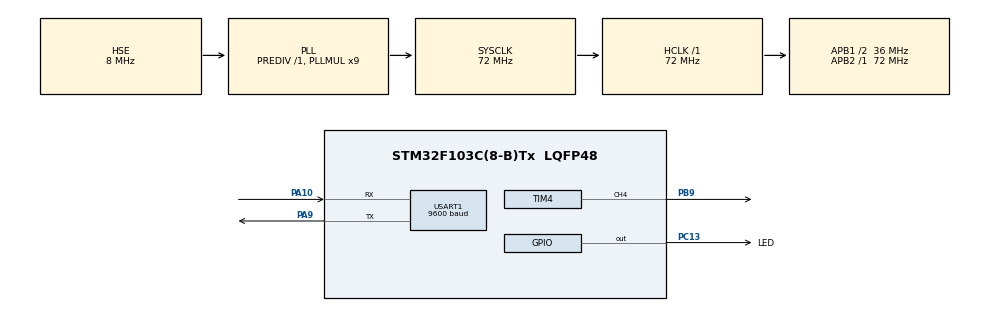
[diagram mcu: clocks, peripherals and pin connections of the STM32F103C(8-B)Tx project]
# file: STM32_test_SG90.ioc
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Mcu.Family=STM32F1
Mcu.Name=STM32F103C(8-B)Tx
Mcu.Package=LQFP48
NVIC.PriorityGroup=NVIC_PRIORITYGROUP_2
NVIC.USART1_IRQn=true\:0\:0\:false\:false\:true\:true\:true\:true
PA10.Mode=Asynchronous
PA10.Signal=USART1_RX
PA13.Mode=Serial_Wire
PA13.Signal=SYS_JTMS-SWDIO
PA14.Mode=Serial_Wire
PA14.Signal=SYS_JTCK-SWCLK
PA9.Mode=Asynchronous
PA9.Signal=USART1_TX
PB9.Signal=S_TIM4_CH4
PC13-TAMPER-RTC.GPIO_Label=LED
PC13-TAMPER-RTC.GPIO_Speed=GPIO_SPEED_FREQ_MEDIUM
PC13-TAMPER-RTC.PinState=GPIO_PIN_SET
PC13-TAMPER-RTC.Signal=GPIO_Output
PD0-OSC_IN.Mode=HSE-External-Oscillator
PD0-OSC_IN.Signal=RCC_OSC_IN
PD1-OSC_OUT.Mode=HSE-External-Oscillator
PD1-OSC_OUT.Signal=RCC_OSC_OUT
ProjectManager.HeapSize=0x200
ProjectManager.StackSize=0x400
ProjectManager.TargetToolchain=MDK-ARM V5.32
RCC.AHBFreq_Value=72000000
RCC.APB1CLKDivider=RCC_HCLK_DIV2
RCC.APB1Freq_Value=36000000
RCC.APB1TimFreq_Value=72000000
RCC.APB2Freq_Value=72000000
RCC.APB2TimFreq_Value=72000000
RCC.HCLKFreq_Value=72000000
RCC.PLLMUL=RCC_PLL_MUL9
RCC.PLLSourceVirtual=RCC_PLLSOURCE_HSE
RCC.SYSCLKFreq_VALUE=72000000
RCC.SYSCLKSource=RCC_SYSCLKSOURCE_PLLCLK
RCC.USBFreq_Value=72000000
SH.S_TIM4_CH4.0=TIM4_CH4,PWM Generation4 CH4
TIM4.AutoReloadPreload=TIM_AUTORELOAD_PRELOAD_ENABLE
TIM4.Channel-PWM\ Generation4\ CH4=TIM_CHANNEL_4
TIM4.Period=2000-1
TIM4.Prescaler=720-1
USART1.BaudRate=9600
USART1.VirtualMode=VM_ASYNC
board=custom

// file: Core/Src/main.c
/* USER CODE BEGIN Header */
/**
  ******************************************************************************
  * @file           : main.c
  * @brief          : Main program body
  ******************************************************************************
  * @attention
  *
  * Copyright (c) 2022 STMicroelectronics.
  * All rights reserved.
  *
  * This software is licensed under terms that can be found in the LICENSE file
  * in the root directory of this software component.
  * If no LICENSE file comes with this software, it is provided AS-IS.
  *
  ******************************************************************************
  */
/* USER CODE END Header */
#include "main.h"
#include "tim.h"
#include "usart.h"
#include "gpio.h"

/* USER CODE BEGIN Includes */
#include "stdio.h"
/* USER CODE END Includes */

/* USER CODE BEGIN PTD */
int fputc(int ch, FILE *stream)
{
    HAL_UART_Transmit(&huart1, (uint8_t *)&ch,1, 0xFFFF);
    return ch;
}
/* USER CODE END PTD */

void SystemClock_Config(void);

/* USER CODE BEGIN 0 */
int RxFlag = 0;
char RxBuffer[3] = {0};
/* USER CODE END 0 */

int main(void)
{

  /* MCU Configuration--------------------------------------------------------*/

  /* Reset of all peripherals, Initializes the Flash interface and the Systick. */
  HAL_Init();

  /* Configure the system clock */
  SystemClock_Config();

  /* Initialize all configured peripherals */
  MX_GPIO_Init();
  MX_USART1_UART_Init();
  MX_TIM4_Init();
  /* USER CODE BEGIN 2 */
  HAL_TIM_PWM_Start(&htim4,TIM_CHANNEL_4);//***定时器初始化
  HAL_UART_Receive_IT(&huart1, (uint8_t *)RxBuffer,3);
  /* USER CODE END 2 */

  /* Infinite loop */
  while (1)
  {
    /* USER CODE BEGIN 3 */
	  //HAL_GPIO_WritePin(LED_GPIO_Port,LED_Pin,GPIO_PIN_RESET);
//	  for(int i = 1;i <= 250;i++)
//	  {
//		  float duty = i/2000.0*100;
//		  printf("now the PWM is :%.2f%%\r\n",duty);
//		  __HAL_TIM_SET_COMPARE(&htim4,TIM_CHANNEL_4,i);
//		  HAL_Delay(1000);
//	  }

	  if(RxFlag)
	  {

		  RxFlag = 0;
	  }
	  /*
	  PWM      angle
	  040  -->    0°
	  071  -->   45°
	  102  -->   90°
	  133  -->  135°
	  164  -->  180°
	  */
	  HAL_Delay(1000);
  }
  /* USER CODE END 3 */
}

void SystemClock_Config(void)
{
  RCC_OscInitTypeDef RCC_OscInitStruct = {0};
  RCC_ClkInitTypeDef RCC_ClkInitStruct = {0};

  /** Initializes the RCC Oscillators according to the specified parameters
  * in the RCC_OscInitTypeDef structure.
  */
  RCC_OscInitStruct.OscillatorType = RCC_OSCILLATORTYPE_HSE;
  RCC_OscInitStruct.HSEState = RCC_HSE_ON;
  RCC_OscInitStruct.HSEPredivValue = RCC_HSE_PREDIV_DIV1;
  RCC_OscInitStruct.HSIState = RCC_HSI_ON;
  RCC_OscInitStruct.PLL.PLLState = RCC_PLL_ON;
  RCC_OscInitStruct.PLL.PLLSource = RCC_PLLSOURCE_HSE;
  RCC_OscInitStruct.PLL.PLLMUL = RCC_PLL_MUL9;
  if (HAL_RCC_OscConfig(&RCC_OscInitStruct) != HAL_OK)
  {
    Error_Handler();
  }

  /** Initializes the CPU, AHB and APB buses clocks
  */
  RCC_ClkInitStruct.ClockType = RCC_CLOCKTYPE_HCLK|RCC_CLOCKTYPE_SYSCLK
                              |RCC_CLOCKTYPE_PCLK1|RCC_CLOCKTYPE_PCLK2;
  RCC_ClkInitStruct.SYSCLKSource = RCC_SYSCLKSOURCE_PLLCLK;
  RCC_ClkInitStruct.AHBCLKDivider = RCC_SYSCLK_DIV1;
  RCC_ClkInitStruct.APB1CLKDivider = RCC_HCLK_DIV2;
  RCC_ClkInitStruct.APB2CLKDivider = RCC_HCLK_DIV1;

  if (HAL_RCC_ClockConfig(&RCC_ClkInitStruct, FLASH_LATENCY_2) != HAL_OK)
  {
    Error_Handler();
  }
}

/* USER CODE BEGIN 4 */
void HAL_UART_RxCpltCallback(UART_HandleTypeDef *huart)  //
{
	if(huart->Instance == USART1)   //判断发生接收中断的串口
	{
		int PWM = 0;
		HAL_GPIO_TogglePin(LED_GPIO_Port,LED_Pin);
		RxFlag=1;   //置为接收完成标志
		PWM = 100 * (RxBuffer[0] - '0') + 10 * (RxBuffer[1] - '0') + (RxBuffer[2] - '0');
		__HAL_TIM_SET_COMPARE(&htim4,TIM_CHANNEL_4,PWM);
		printf("received -> %s\r\n",RxBuffer);
		printf("has setted the PWM\r\n");
	}
	HAL_UART_Receive_IT(&huart1, (uint8_t *)RxBuffer,3);
}
/* USER CODE END 4 */

void Error_Handler(void)
{
  __disable_irq();
  while (1)
  {
  }
}
